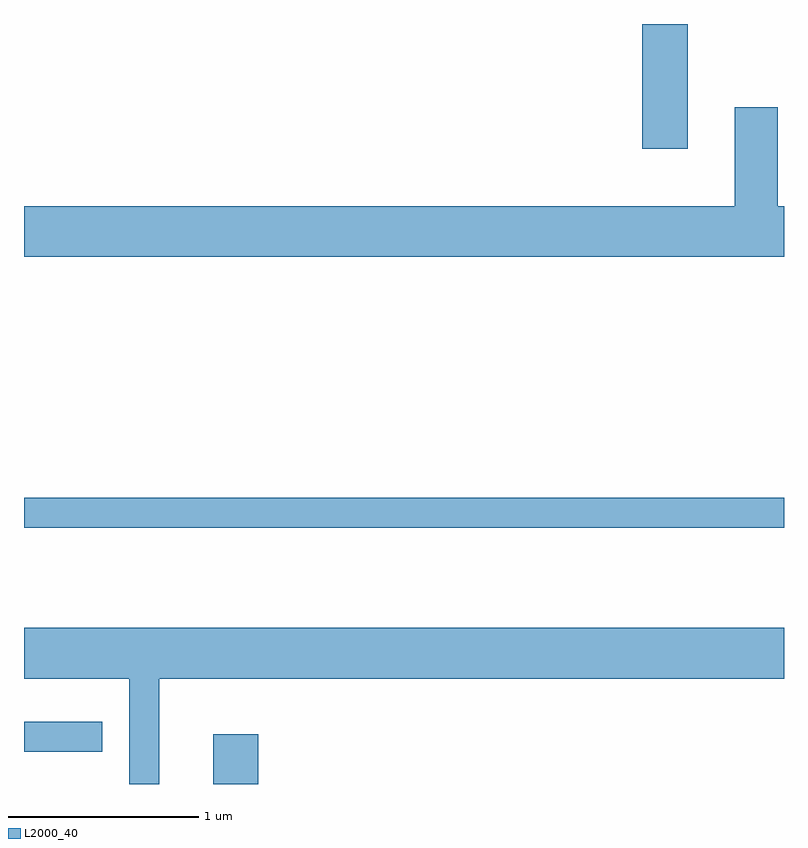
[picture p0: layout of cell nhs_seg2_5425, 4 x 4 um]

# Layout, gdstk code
import gdstk
lib = gdstk.Library(unit=1e-6, precision=1e-09)
def R(c, l, rs):  # rectangles x0, y0, x1, y1
    for r in rs: c.add(gdstk.rectangle(r[:2], r[2:], *l))
def P(c, l, *ps):  # polygons
    for p in ps: c.add(gdstk.Polygon(p, *l))
L2000_40 = (2000, 40)

nhs_seg2_5425 = lib.new_cell('nhs_seg2_5425')
R(nhs_seg2_5425, L2000_40, [(346.606,1007.802,346.844,1008.064), (345.611,1007.971,346.023,1008.129), (345.611,1009.151,349.611,1009.309), (348.866,1011.146,349.104,1011.802)])
P(nhs_seg2_5425, L2000_40, [(349.611,1010.844),(349.579,1010.844),(349.579,1011.364),(349.351,1011.364),(349.351,1010.844),(345.611,1010.844),(345.611,1010.576),(349.611,1010.576)],
  [(345.611,1008.356),(346.166,1008.356),(346.166,1007.802),(346.324,1007.802),(346.324,1008.356),(349.611,1008.356),(349.611,1008.624),(345.611,1008.624)])

lib.write_gds('nhs_seg2_5425.gds')
